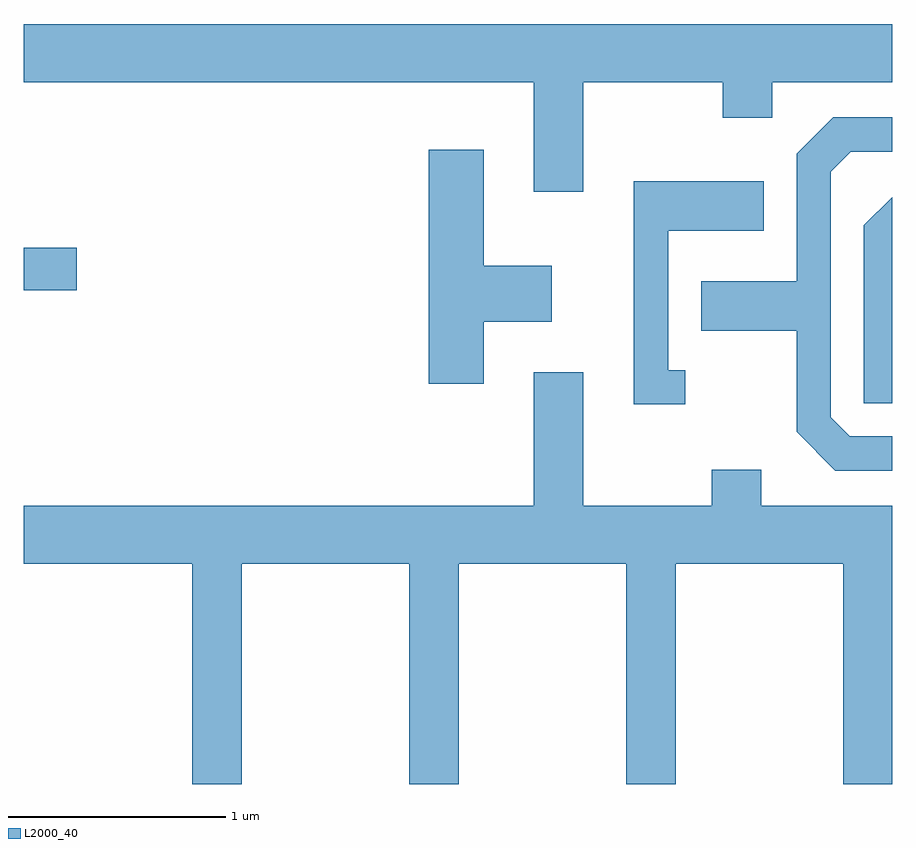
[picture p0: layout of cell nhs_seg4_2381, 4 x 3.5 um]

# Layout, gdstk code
import gdstk
lib = gdstk.Library(unit=1e-6, precision=1e-09)
def R(c, l, rs):  # rectangles x0, y0, x1, y1
    for r in rs: c.add(gdstk.rectangle(r[:2], r[2:], *l))
def P(c, l, *ps):  # polygons
    for p in ps: c.add(gdstk.Polygon(p, *l))
L2000_40 = (2000, 40)

nhs_seg4_2381 = lib.new_cell('nhs_seg4_2381')
R(nhs_seg4_2381, L2000_40, [(255.611,1258.256,255.854,1258.454)])
P(nhs_seg4_2381, L2000_40, [(258.189,1259.216),(258.831,1259.216),(258.831,1259.051),(259.059,1259.051),(259.059,1259.216),(259.611,1259.216),(259.611,1259.484),(255.611,1259.484),(255.611,1259.216),(257.961,1259.216),(257.961,1258.711),(258.189,1258.711)],
  [(259.611,1257.584),(259.416,1257.584),(259.329,1257.672),(259.329,1258.804),(259.421,1258.896),(259.611,1258.896),(259.611,1259.054),(259.339,1259.054),(259.171,1258.887),(259.171,1258.299),(258.731,1258.299),(258.731,1258.071),(259.171,1258.071),(259.171,1257.604),(259.349,1257.426),(259.611,1257.426)],
  [(257.729,1258.111),(258.044,1258.111),(258.044,1258.369),(257.729,1258.369),(257.729,1258.904),(257.476,1258.904),(257.476,1257.826),(257.729,1257.826)],
  [(258.658,1257.889),(258.579,1257.889),(258.579,1258.531),(259.019,1258.531),(259.019,1258.759),(258.421,1258.759),(258.421,1257.731),(258.658,1257.731)],
  [(259.611,1258.686),(259.481,1258.557),(259.481,1257.736),(259.611,1257.736)],
  [(256.614,1256.996),(257.386,1256.996),(257.386,1255.982),(257.614,1255.982),(257.614,1256.996),(258.386,1256.996),(258.386,1255.982),(258.614,1255.982),(258.614,1256.996),(259.386,1256.996),(259.386,1255.982),(259.611,1255.982),(259.611,1257.264),(259.009,1257.264),(259.009,1257.429),(258.781,1257.429),(258.781,1257.264),(258.189,1257.264),(258.189,1257.879),(257.961,1257.879),(257.961,1257.264),(255.611,1257.264),(255.611,1256.996),(256.386,1256.996),(256.386,1255.982),(256.614,1255.982)])

lib.write_gds('nhs_seg4_2381.gds')
